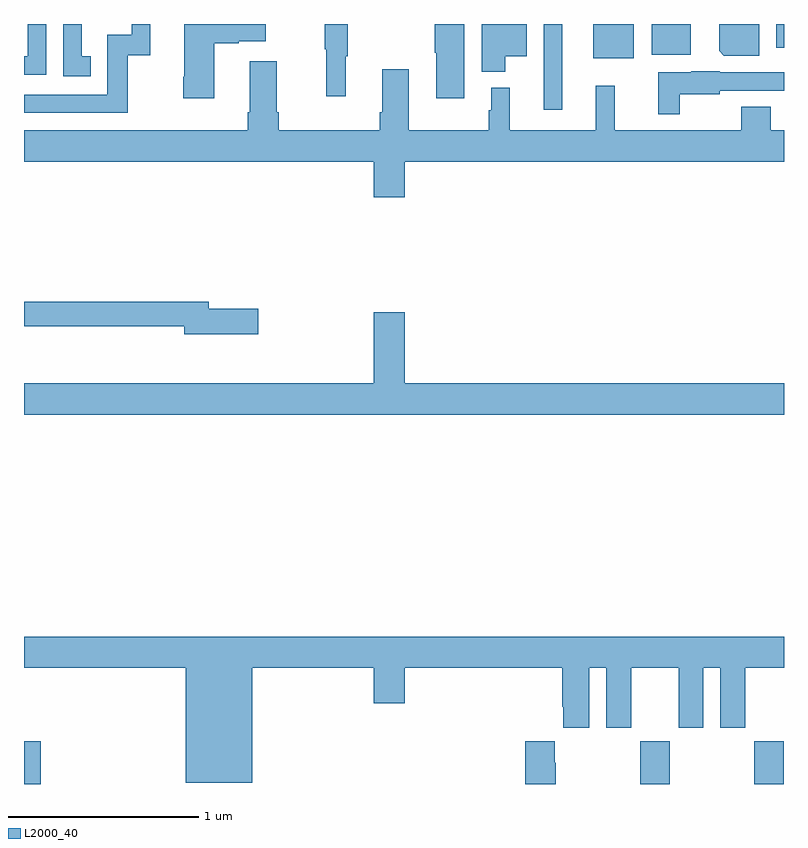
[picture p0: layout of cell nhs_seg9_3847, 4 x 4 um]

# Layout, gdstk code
import gdstk
lib = gdstk.Library(unit=1e-6, precision=1e-09)
def R(c, l, rs):  # rectangles x0, y0, x1, y1
    for r in rs: c.add(gdstk.rectangle(r[:2], r[2:], *l))
def P(c, l, *ps):  # polygons
    for p in ps: c.add(gdstk.Polygon(p, *l))
L2000_40 = (2000, 40)

nhs_seg9_3847 = lib.new_cell('nhs_seg9_3847')
R(nhs_seg9_3847, L2000_40, [(331,1170.5,331.088,1170.724), (334.243,1170.5,334.398,1170.724), (334.843,1170.5,334.998,1170.724), (333.735,1174.05,333.832,1174.5), (333.995,1174.319,334.21,1174.5), (334.304,1174.337,334.51,1174.5), (334.958,1174.374,335,1174.5)])
P(nhs_seg9_3847, L2000_40, [(331.352,1174.329),(331.303,1174.329),(331.303,1174.5),(331.206,1174.5),(331.206,1174.224),(331.352,1174.224)],
  [(332.002,1174.399),(332.129,1174.399),(332.129,1174.409),(332.272,1174.409),(332.272,1174.5),(331.844,1174.5),(331.844,1174.222),(331.837,1174.222),(331.837,1174.11),(332.002,1174.11)],
  [(333.532,1174.331),(333.646,1174.331),(333.646,1174.5),(333.41,1174.5),(333.41,1174.25),(333.532,1174.25)],
  [(334.87,1174.5),(334.658,1174.5),(334.658,1174.36),(334.684,1174.334),(334.87,1174.334)],
  [(332.693,1174.331),(332.704,1174.331),(332.704,1174.5),(332.583,1174.5),(332.583,1174.368),(332.59,1174.368),(332.59,1174.119),(332.693,1174.119)],
  [(331.546,1174.335),(331.664,1174.335),(331.664,1174.5),(331.566,1174.5),(331.566,1174.443),(331.437,1174.443),(331.437,1174.128),(331,1174.128),(331,1174.032),(331.546,1174.032)],
  [(331.116,1174.5),(331.02,1174.5),(331.02,1174.33),(331,1174.33),(331,1174.233),(331.116,1174.233)],
  [(333.316,1174.5),(333.163,1174.5),(333.163,1174.348),(333.17,1174.348),(333.17,1174.11),(333.316,1174.11)],
  [(333.004,1173.776),(335,1173.776),(335,1173.94),(334.929,1173.94),(334.929,1174.064),(334.774,1174.064),(334.774,1173.94),(334.11,1173.94),(334.11,1174.174),(334.01,1174.174),(334.01,1173.94),(333.557,1173.94),(333.557,1174.165),(333.458,1174.165),(333.458,1174.047),(333.447,1174.047),(333.447,1173.94),(333.025,1173.94),(333.025,1174.261),(332.885,1174.261),(332.885,1174.036),(332.873,1174.036),(332.873,1173.94),(332.342,1173.94),(332.342,1174.036),(332.329,1174.036),(332.329,1174.303),(332.189,1174.303),(332.189,1174.036),(332.177,1174.036),(332.177,1173.94),(331,1173.94),(331,1173.776),(332.84,1173.776),(332.84,1173.588),(333.004,1173.588)],
  [(334.45,1174.13),(334.662,1174.13),(334.662,1174.149),(335,1174.149),(335,1174.245),(334.662,1174.245),(334.662,1174.252),(334.512,1174.252),(334.512,1174.246),(334.339,1174.246),(334.339,1174.025),(334.45,1174.025)],
  [(332.233,1173.002),(331.972,1173.002),(331.972,1173.038),(331,1173.038),(331,1172.91),(331.844,1172.91),(331.844,1172.867),(332.233,1172.867)],
  [(335,1172.608),(333.004,1172.608),(333.004,1172.983),(332.84,1172.983),(332.84,1172.608),(331,1172.608),(331,1172.444),(335,1172.444)],
  [(332.2,1171.112),(332.84,1171.112),(332.84,1170.924),(333.004,1170.924),(333.004,1171.112),(333.833,1171.112),(333.833,1170.907),(333.839,1170.907),(333.839,1170.795),(333.976,1170.795),(333.976,1171.112),(334.064,1171.112),(334.064,1170.795),(334.195,1170.795),(334.195,1171.112),(334.445,1171.112),(334.445,1170.795),(334.576,1170.795),(334.576,1171.112),(334.664,1171.112),(334.664,1170.795),(334.795,1170.795),(334.795,1171.112),(335,1171.112),(335,1171.276),(331,1171.276),(331,1171.112),(331.85,1171.112),(331.85,1170.506),(332.2,1170.506)],
  [(333.798,1170.611),(333.793,1170.611),(333.793,1170.724),(333.638,1170.724),(333.638,1170.5),(333.798,1170.5)])

lib.write_gds('nhs_seg9_3847.gds')
